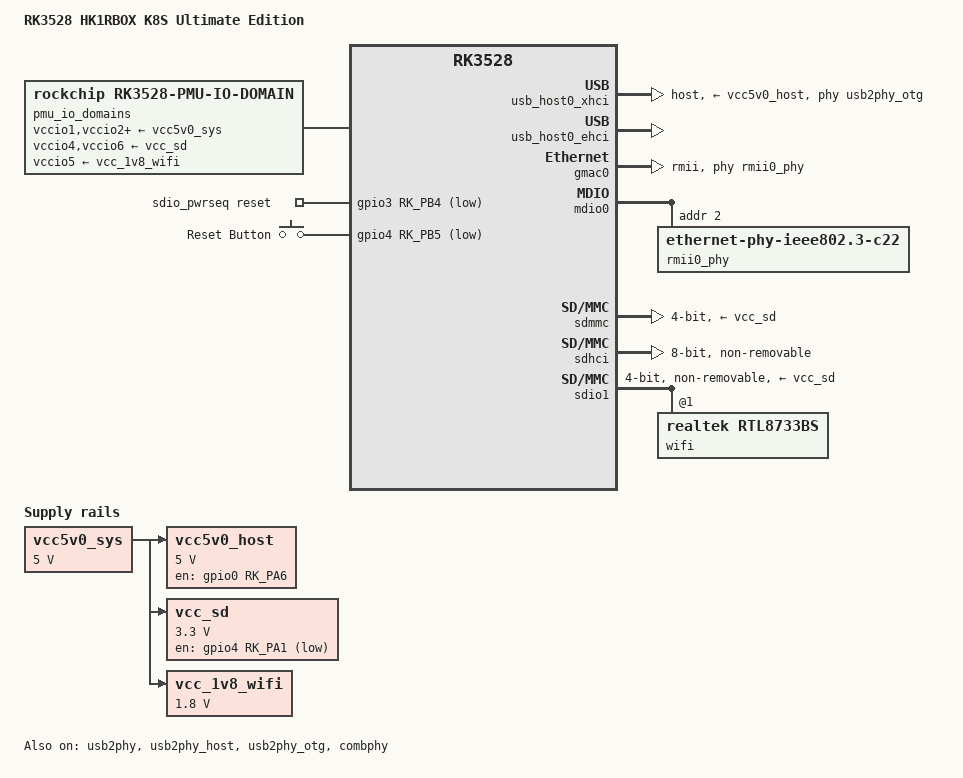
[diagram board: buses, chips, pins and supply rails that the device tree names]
// SPDX-License-Identifier: (GPL-2.0+ OR MIT)
/*
 * Copyright (c) 2022 Rockchip Electronics Co., Ltd.
 * Copyright (c) 2024 Modified for Linux 6.12 Mainline
 * Copyright (c) 2024 https://github.com/xf110
*/

/dts-v1/;

#include <dt-bindings/input/input.h>
#include <dt-bindings/gpio/gpio.h>
#include <dt-bindings/pinctrl/rockchip.h>
#include "rk3528.dtsi"

/ {
    model = "RK3528 HK1RBOX K8S Ultimate Edition";
    compatible = "hinlink,hk1rboxk8s", "rockchip,rk3528";

    aliases {
        ethernet0 = &gmac0;
        mmc0 = &sdmmc;
        mmc1 = &sdio1;
        mmc2 = &sdhci;
    };

    chosen {
        stdout-path = "serial0:1500000n8";
    };

    /* --- 1. PMU IO Domains：信号完整性的基石 --- */
    /* 解决 summary 中 voltage 0mV 导致的驱动能力不足及电平抖动 */
    pmu_io_domains: io-domains {
        compatible = "rockchip,rk3528-pmu-io-domain";
        vccio1-supply = <&vcc5v0_sys>;
        vccio2-supply = <&vcc5v0_sys>;
        vccio3-supply = <&vcc5v0_sys>;
        vccio4-supply = <&vcc_sd>;       // SD卡信号域 (3.3V)
        vccio5-supply = <&vcc_1v8_wifi>;  // WiFi IO 域 (1.8V)
        vccio6-supply = <&vcc_sd>;       // SDIO 接口域 (3.3V)
        vccio7-supply = <&vcc5v0_sys>;
        status = "okay";
    };

    /* --- 2. 规范化电源树：解除 WiFi 对 SD 卡检测的依赖 --- */
    vcc5v0_sys: vcc5v0-sys {
        compatible = "regulator-fixed";
        regulator-name = "vcc5v0_sys";
        regulator-always-on;
        regulator-boot-on;
        regulator-min-microvolt = <5000000>;
        regulator-max-microvolt = <5000000>;
    };

    vcc5v0_host: vcc5v0-host {
        compatible = "regulator-fixed";
        enable-active-high;
        gpio = <&gpio0 RK_PA6 GPIO_ACTIVE_HIGH>;
        regulator-name = "vcc5v0_host";
        regulator-always-on;  // 强制开启，不插设备也供电
        regulator-boot-on;    // 启动时立即拉高 GPIO
        vin-supply = <&vcc5v0_sys>;
        regulator-min-microvolt = <5000000>;
        regulator-max-microvolt = <5000000>;
        off-on-delay-us = <20000>;
    };

    vcc_sd: vcc-sd {
        compatible = "regulator-fixed";
        regulator-name = "vcc_sd";
        regulator-min-microvolt = <3300000>;
        regulator-max-microvolt = <3300000>;

        /* 核心修复：强制开启，确保不插 SD 卡时 WiFi 依然有电 */
        regulator-always-on;
        regulator-boot-on;

        enable-active-low;
        gpio = <&gpio4 RK_PA1 GPIO_ACTIVE_LOW>;
        vin-supply = <&vcc5v0_sys>;

        /* 稳定性增强：增加上电缓冲时间 */
        startup-delay-us = <100000>;     // 开启后等待 100ms 待电压稳定
        off-on-delay-us = <20000>;       // 彻底放电间隙
    };

    vcc_1v8_wifi: vcc-1v8-wifi {
        compatible = "regulator-fixed";
        regulator-name = "vcc_1v8_wifi";
        regulator-min-microvolt = <1800000>;
        regulator-max-microvolt = <1800000>;
        regulator-always-on;
        vin-supply = <&vcc5v0_sys>;
    };

    sdio_pwrseq: sdio-pwrseq {
        compatible = "mmc-pwrseq-simple";
        pinctrl-names = "default";
        pinctrl-0 = <&wifi_enable_h &wifi_power_on_h>;
        reset-gpios = <&gpio3 RK_PB4 GPIO_ACTIVE_LOW>;
        post-power-on-delay-ms = <1000>;
        status = "okay";
    };

    /* 复位按键 */
    gpio_keys: gpio-keys {
        compatible = "gpio-keys";
        status = "okay";
        key-factory {
            debounce-interval = <100>;
            gpios = <&gpio4 RK_PB5 GPIO_ACTIVE_LOW>;
            label = "Reset Button";
            linux,code = <KEY_RESTART>;
        };
    };
};

/* --- 3. USB PHY 与控制器 --- */
&usb2phy { status = "okay"; };
&usb2phy_host { status = "okay"; };
&usb2phy_otg { status = "okay"; };

&combphy {
    rockchip,enable-ssc;
    rockchip,u3phy-only;
    phy-supply = <&vcc5v0_host>;
    status = "okay";
};

&usb_host0_xhci {
    dr_mode = "host";
    phys = <&usb2phy_otg>, <&combphy PHY_TYPE_USB3>;
    phy-names = "usb2-phy", "usb3-phy";
    vbus-supply = <&vcc5v0_host>;
    snps,dis_u2_susphy_quirk;
    snps,dis_u3_susphy_quirk;
    snps,dis-del-phy-power-on-res-quirk;
    snps,tx-fifo-resize;
    status = "okay";
};

&usb_host0_ehci { status = "okay"; };

/* --- 4. 网络 (GMAC0) --- */
&gmac0 {
    phy-handle = <&rmii0_phy>;
    phy-mode = "rmii";
    status = "okay";
};

&mdio0 {
    status = "okay";
    rmii0_phy: ethernet-phy@2 {
        compatible = "ethernet-phy-ieee802.3-c22";
        reg = <0x2>;
        phy-is-integrated;
        resets = <&cru SRST_MACPHY>;
    };
};

/* --- 5. SDMMC (MicroSD卡槽) --- */
&sdmmc {
    bus-width = <4>;
    vmmc-supply = <&vcc_sd>;
    vqmmc-supply = <&vcc_sd>;
    no-1-8-v;                 // 锁定 3.3V，提高不同品牌 SD 卡的兼容性
    cap-sd-highspeed;
    disable-wp;
    status = "okay";
};

/* --- 6. sdhci (eMMC) --- */
&sdhci {
    bus-width = <8>;
    non-removable;
    status = "okay";
};

/* --- 7. SDIO1 (WiFi 模块) --- */
&sdio1 {
    #address-cells = <1>;
    #size-cells = <0>;
    bus-width = <4>;
    cap-sd-highspeed;
    cap-sdio-irq;
    keep-power-in-suspend;
    non-removable;
    cap-power-off-card;

    mmc-pwrseq = <&sdio_pwrseq>;
    vmmc-supply = <&vcc_sd>;
    vqmmc-supply = <&vcc_1v8_wifi>;

    assigned-clocks = <&cru CCLK_SRC_SDIO1>;
    assigned-clock-parents = <&cru PLL_GPLL>;
    assigned-clock-rates = <100000000>;

    rockchip,default-sample-phase = <90>;
    rockchip,use-v2-tuning;
    status = "okay";

    wifi@1 {
        compatible = "realtek,rtl8733bs";
        reg = <1>;
    };
};

/* --- 8. Pinctrl 增强驱动能力 --- */
&pinctrl {
    sdio1 {
        sdio1_clk: sdio1-clk {
            /* 使用 level-3 驱动等级，增强长距离信号抗干扰 */
            rockchip,pins = <3 RK_PA4 1 &pcfg_pull_up_drv_level_3>;
        };
    };

    wireless-wlan {
        wifi_power_on_h: wifi-power-on-h {
            rockchip,pins = <3 RK_PB2 RK_FUNC_GPIO &pcfg_pull_up>;
        };
        wifi_enable_h: wifi-enable-h {
            rockchip,pins = <3 RK_PB4 RK_FUNC_GPIO &pcfg_pull_up>;
        };
    };
};
